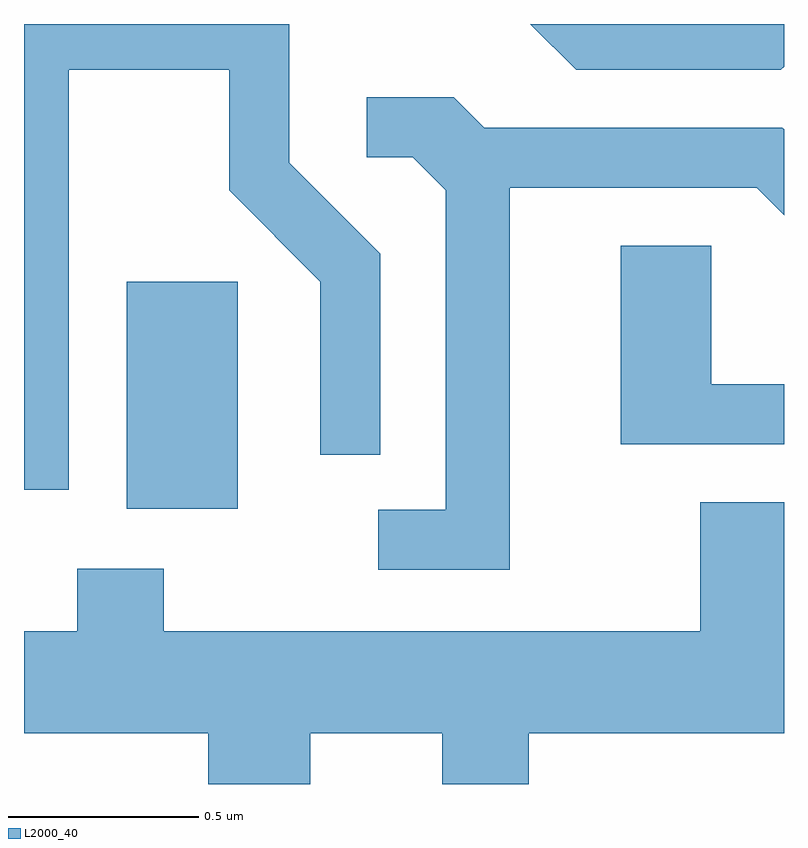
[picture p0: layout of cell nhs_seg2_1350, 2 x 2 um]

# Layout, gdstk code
import gdstk
lib = gdstk.Library(unit=1e-6, precision=1e-09)
def R(c, l, rs):  # rectangles x0, y0, x1, y1
    for r in rs: c.add(gdstk.rectangle(r[:2], r[2:], *l))
def P(c, l, *ps):  # polygons
    for p in ps: c.add(gdstk.Polygon(p, *l))
L2000_40 = (2000, 40)

nhs_seg2_1350 = lib.new_cell('nhs_seg2_1350')
R(nhs_seg2_1350, L2000_40, [(194.881,1095.526,195.174,1096.124)])
P(nhs_seg2_1350, L2000_40, [(194.729,1096.681),(195.151,1096.681),(195.151,1096.364),(195.391,1096.124),(195.391,1095.668),(195.549,1095.668),(195.549,1096.197),(195.309,1096.437),(195.309,1096.802),(194.611,1096.802),(194.611,1095.576),(194.729,1095.576)],
  [(196.611,1096.69),(196.611,1096.802),(195.943,1096.802),(196.064,1096.681),(196.602,1096.681)],
  [(195.889,1096.371),(196.539,1096.371),(196.611,1096.299),(196.611,1096.525),(196.607,1096.529),(195.822,1096.529),(195.742,1096.609),(195.513,1096.609),(195.513,1096.451),(195.634,1096.451),(195.721,1096.364),(195.721,1095.524),(195.543,1095.524),(195.543,1095.366),(195.889,1095.366)],
  [(196.611,1095.854),(196.419,1095.854),(196.419,1096.219),(196.181,1096.219),(196.181,1095.696),(196.611,1095.696)],
  [(195.364,1094.936),(195.711,1094.936),(195.711,1094.802),(195.939,1094.802),(195.939,1094.936),(196.611,1094.936),(196.611,1095.544),(196.391,1095.544),(196.391,1095.204),(194.979,1095.204),(194.979,1095.369),(194.751,1095.369),(194.751,1095.204),(194.611,1095.204),(194.611,1094.936),(195.096,1094.936),(195.096,1094.802),(195.364,1094.802)])

lib.write_gds('nhs_seg2_1350.gds')
